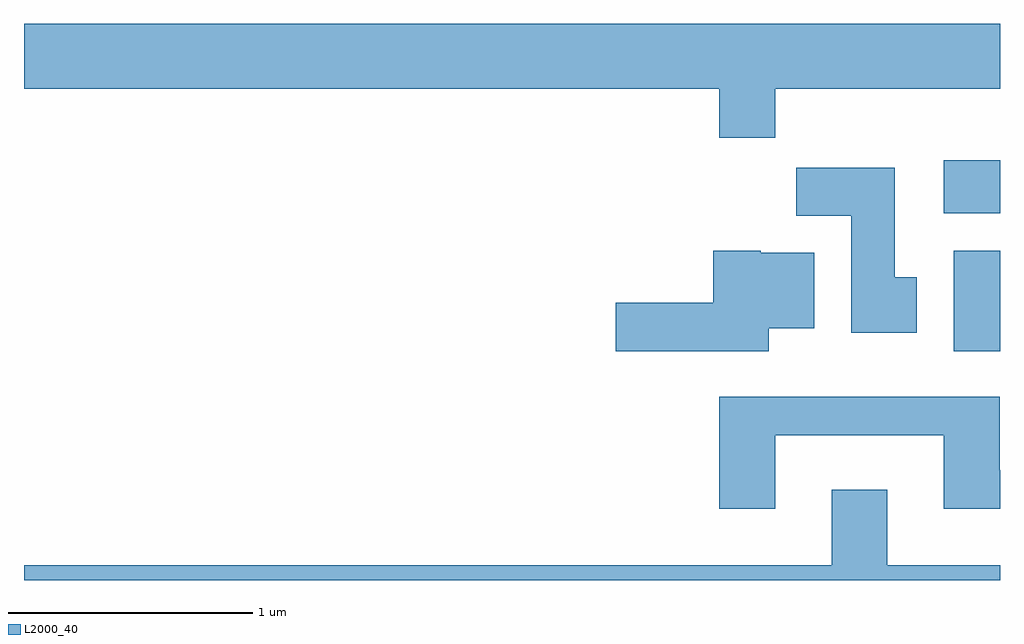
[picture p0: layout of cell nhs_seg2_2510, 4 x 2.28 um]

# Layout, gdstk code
import gdstk
lib = gdstk.Library(unit=1e-6, precision=1e-09)
def R(c, l, rs):  # rectangles x0, y0, x1, y1
    for r in rs: c.add(gdstk.rectangle(r[:2], r[2:], *l))
def P(c, l, *ps):  # polygons
    for p in ps: c.add(gdstk.Polygon(p, *l))
L2000_40 = (2000, 40)

nhs_seg2_2510 = lib.new_cell('nhs_seg2_2510')
R(nhs_seg2_2510, L2000_40, [(261.421,1102.741,261.611,1103.154), (261.381,1103.306,261.611,1103.524)])
P(nhs_seg2_2510, L2000_40, [(260.689,1103.816),(261.611,1103.816),(261.611,1104.084),(257.611,1104.084),(257.611,1103.816),(260.461,1103.816),(260.461,1103.616),(260.689,1103.616)],
  [(261.269,1103.044),(261.179,1103.044),(261.179,1103.494),(260.776,1103.494),(260.776,1103.296),(261.001,1103.296),(261.001,1102.816),(261.269,1102.816)],
  [(260.664,1102.836),(260.849,1102.836),(260.849,1103.144),(260.63,1103.144),(260.63,1103.154),(260.436,1103.154),(260.436,1102.939),(260.036,1102.939),(260.036,1102.741),(260.664,1102.741)],
  [(260.689,1102.396),(261.381,1102.396),(261.381,1102.096),(261.611,1102.096),(261.611,1102.254),(261.609,1102.254),(261.609,1102.554),(260.461,1102.554),(260.461,1102.096),(260.689,1102.096)],
  [(261.611,1101.864),(261.149,1101.864),(261.149,1102.174),(260.921,1102.174),(260.921,1101.864),(257.611,1101.864),(257.611,1101.802),(261.611,1101.802)])

lib.write_gds('nhs_seg2_2510.gds')
